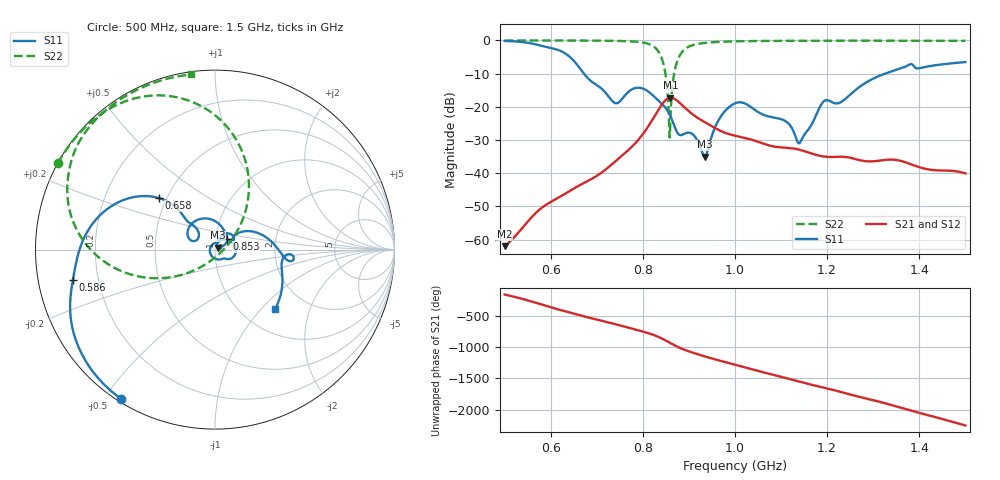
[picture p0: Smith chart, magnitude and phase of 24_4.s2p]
! TOUCHSTONE file generated by CST MICROWAVE STUDIO
! Date and time: Wed Oct 28 19:17:58 2020
! Project name: Scenario_1_Circular_Tissue_out_of_Line.cst
! Parameters = {dy1=52.843; L_HA=400; MT=2.54; Rad_Dielectric=30; Rad_Lower=7.3; Rad_Upper=30; a_HA=580; a_WG=246; b_HA=500; b_WG=121; c_HA=0; c_WG=187; d_feed=85; dx1=693; h_feed=15; h_lower=18; h_upper=40}
! Header version: 2018
! Port assignment regex: !\s*Touchstone port\s*([0-9]+)\s*=\s*(CST MWS port|CST DS port)\s*([0-9]+|Zmin|Zmax)\s*\(\"(.*)\"\)(\s*mode\s*([0-9]+))?.*
! Touchstone port assignment:
! Touchstone port 1 = CST MWS port 1 ("")
! Touchstone port 2 = CST MWS port 2 ("")
# GHz S DB R 50
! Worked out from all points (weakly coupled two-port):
!   1001 points, 500 MHz to 1.5 GHz, reference 50 ohm
!   highest |S21| = -17.27 dB at 860 MHz (marker M1); lowest = -62.0 dB at 500 MHz (marker M2)
!   lowest |S11| = -35.1 dB at 934 MHz (marker M3), VSWR 1.04, Z = 51.4 + j1.08 ohm
!   |S11| at or under -10 dB: 672.2 MHz to 1.326 GHz (653.5 MHz wide, 65.4 % of centre)
!   |S22| runs from -29.2 to 0.0 dB; largest |S21 - S12| = 8.6e-05
!   S11 on the Smith chart (normalised r, x): 500 MHz: 0.01, -0.55; 586 MHz: 0.11, -0.11; 658 MHz: 0.45, +0.32; 853 MHz: 1.13, +0.14; 1.5 GHz: 1.40, -1.20
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0.5  -0.16 -122.3  -61.98 -167.0  -61.98 -167.0  -0.01 151.1
0.586  -1.82 -167.8  -49.88 20.8  -49.88 20.8  -0.02 145.2
0.658  -7.43 137.5  -43.99 -125.7  -43.99 -125.7  -0.04 139.2
0.667  -9.06 133.6  -43.32 -143.4  -43.32 -143.4  -0.04 138.4
0.74  -18.88 144.4  -36.48 82.5  -36.48 82.5  -0.13 129.3
0.779  -14.55 143.2  -31.63 7.0  -31.63 7.0  -0.32 120.7
0.834  -18.16 68.4  -20.84 -120.9  -20.84 -120.9  -3.36 83.7
0.846  -19.78 52.6  -18.45 -163.3  -18.45 -163.3  -7.79 62.3
0.853  -21.02 41.8  -17.59 169.0  -17.59 169.0  -14.62 42.9
0.86  -22.85 31.4  -17.27 140.5  -17.27 140.5  -23.13 -112.4
0.869  -25.99 25.3  -17.64 105.2  -17.64 105.2  -9.21 -152.6
0.88  -28.49 34.7  -18.82 67.0  -18.82 67.0  -4.56 -171.5
0.908  -28.24 22.2  -22.27 -9.2  -22.27 -9.2  -1.43 163.7
0.934  -35.06 36.4  -24.59 -68.5  -24.59 -68.5  -0.76 153.1
0.965  -23.84 56.0  -27.01 -133.6  -27.01 -133.6  -0.43 145.9
1  -18.94 10.6  -28.69 159.3  -28.69 159.3  -0.27 140.3
1.109  -24.26 -64.5  -32.30 -48.6  -32.30 -48.6  -0.12 128.9
1.138  -30.96 169.2  -32.87 -106.1  -32.87 -106.1  -0.11 126.5
1.167  -25.15 69.6  -34.12 -161.5  -34.11 -161.5  -0.09 124.2
1.194  -18.21 44.9  -34.99 151.4  -34.99 151.4  -0.09 122.1
1.334  -9.60 4.9  -35.90 -110.9  -35.93 -111.2  -0.09 111.5
1.5  -6.52 -44.9  -40.06 -86.4  -40.06 -86.4  -0.13 97.9
